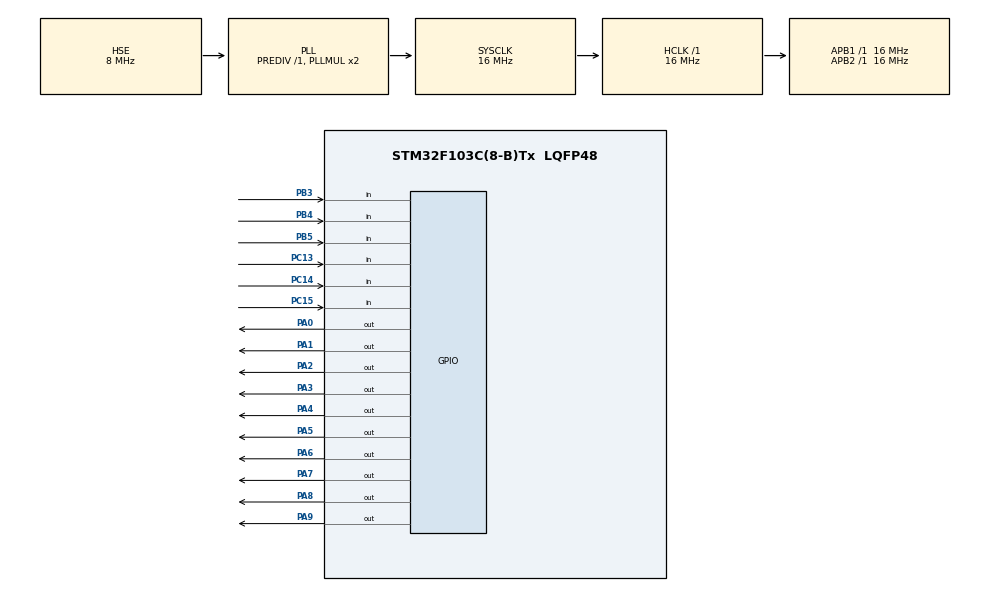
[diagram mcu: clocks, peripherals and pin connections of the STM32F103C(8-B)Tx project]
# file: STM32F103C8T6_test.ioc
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Mcu.Family=STM32F1
Mcu.Name=STM32F103C(8-B)Tx
Mcu.Package=LQFP48
NVIC.PriorityGroup=NVIC_PRIORITYGROUP_4
PA0-WKUP.GPIO_PuPd=GPIO_PULLDOWN
PA0-WKUP.Signal=GPIO_Output
PA1.GPIO_PuPd=GPIO_PULLDOWN
PA1.Signal=GPIO_Output
PA13.Mode=Serial_Wire
PA13.Signal=SYS_JTMS-SWDIO
PA14.Mode=Serial_Wire
PA14.Signal=SYS_JTCK-SWCLK
PA2.GPIO_PuPd=GPIO_PULLDOWN
PA2.Signal=GPIO_Output
PA3.GPIO_PuPd=GPIO_PULLDOWN
PA3.Signal=GPIO_Output
PA4.GPIO_PuPd=GPIO_PULLDOWN
PA4.Signal=GPIO_Output
PA5.GPIO_PuPd=GPIO_PULLDOWN
PA5.Signal=GPIO_Output
PA6.GPIO_PuPd=GPIO_PULLDOWN
PA6.Signal=GPIO_Output
PA7.GPIO_PuPd=GPIO_PULLDOWN
PA7.Signal=GPIO_Output
PA8.GPIO_PuPd=GPIO_PULLDOWN
PA8.Signal=GPIO_Output
PA9.GPIO_PuPd=GPIO_PULLDOWN
PA9.Signal=GPIO_Output
PB3.GPIO_PuPd=GPIO_PULLDOWN
PB3.Signal=GPIO_Input
PB4.GPIO_PuPd=GPIO_PULLDOWN
PB4.Signal=GPIO_Input
PB5.GPIO_PuPd=GPIO_PULLDOWN
PB5.Signal=GPIO_Input
PC13-TAMPER-RTC.GPIO_PuPd=GPIO_PULLDOWN
PC13-TAMPER-RTC.Signal=GPIO_Input
PC14-OSC32_IN.GPIO_PuPd=GPIO_PULLDOWN
PC14-OSC32_IN.Signal=GPIO_Input
PC15-OSC32_OUT.GPIO_PuPd=GPIO_PULLDOWN
PC15-OSC32_OUT.Signal=GPIO_Input
PD0-OSC_IN.Mode=HSE-External-Oscillator
PD0-OSC_IN.Signal=RCC_OSC_IN
PD1-OSC_OUT.Mode=HSE-External-Oscillator
PD1-OSC_OUT.Signal=RCC_OSC_OUT
ProjectManager.HeapSize=0x200
ProjectManager.StackSize=0x400
ProjectManager.TargetToolchain=STM32CubeIDE
RCC.AHBFreq_Value=16000000
RCC.APB1Freq_Value=16000000
RCC.APB1TimFreq_Value=16000000
RCC.APB2Freq_Value=16000000
RCC.APB2TimFreq_Value=16000000
RCC.HCLKFreq_Value=16000000
RCC.PLLSourceVirtual=RCC_PLLSOURCE_HSE
RCC.SYSCLKFreq_VALUE=16000000
RCC.SYSCLKSource=RCC_SYSCLKSOURCE_PLLCLK
RCC.USBFreq_Value=16000000
board=custom

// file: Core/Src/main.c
/* USER CODE BEGIN Header */

/**
  ******************************************************************************
  * @file           : main.c
  * @brief          : Main program body
  ******************************************************************************
  * @attention
  *
  * Copyright (c) 2024 STMicroelectronics.
  * All rights reserved.
  *
  * This software is licensed under terms that can be found in the LICENSE file
  * in the root directory of this software component.
  * If no LICENSE file comes with this software, it is provided AS-IS.
  *
  ******************************************************************************
  */
/* USER CODE END Header */
#include "main.h"

/* USER CODE BEGIN Includes */
#include <string.h>
#include <stdint.h>
#include <stdlib.h>
/* USER CODE END Includes */

/* USER CODE BEGIN PD */
// define states
#define Pgo 0
#define Wgo 1
#define Sgo 2
#define Wwait 3
#define Swait 4
#define Warn1 5
#define Off1 6
#define Warn2 7
#define Off2 8
#define Warn3 9
#define Off3 10
#define stopP 11
#define stopW 12
#define stopS 13

// define value of state
#define Pgo_val 0x127
#define Wgo_val 0x61
#define Sgo_val 0x109
#define Wwait_val 0xA1
#define Swait_val 0x111
#define Warn1_val 0x121
#define Off1_val 0x120
#define Warn2_val 0x121
#define Off2_val 0x120
#define Warn3_val 0x121
#define Off3_val 0x120
#define stopP_val 0x121
#define stopW_val 0x121
#define stopS_val 0x121
/* USER CODE END PD */

void SystemClock_Config(void);
static void MX_GPIO_Init(void);

/* USER CODE BEGIN 0 */

// Runs on STM32F103C8T6
// Use a table implementation of a Moore finite state machine to operate
// a traffic light.
// Truong Giang Nguyen
// Jan 10th, 2024
//
// walk button sensor connected to PB5 (1=button pressed)
// north facing car detector connected to PB4 (1=car present)
// east facing car detector connected to PB3 (1=car present)
//
// east facing red light connected to PA8
// east facing yellow light connected to PA7
// east facing green light connected to PA6
// north facing red light connected to PA5
// north facing yellow light connected to PA4
// north facing green light connected to PA3
// walk blue light connected to PA2
// walk green light connected to PA1
// walk red light connected to PA0

struct State {
	uint32_t out;
	unsigned long wait;
	uint32_t next[8]; //Index of the state
};
typedef const struct State Stype;

Stype fsm[14] = {
{0x127, 4000, {Pgo, Warn1, Warn1, Warn1, Pgo, Warn1, Warn1, Warn1}},
{0x61, 4000, {Wgo, Wgo, Wwait, Wwait, Wwait, Wwait, Wwait, Wwait}},
{0x109, 4000, {Sgo, Swait, Sgo, Swait, Swait, Swait, Swait, Swait}},
{0xA1, 1600, {stopW, stopW, stopW, stopW, stopW, stopW, stopW, stopW}},
{0x111, 1600, {stopS, stopS, stopS, stopS, stopS, stopS, stopS, stopS}},
{0x121, 300, {Off1, Off1, Off1, Off1, Off1, Off1, Off1, Off1}},
{0x120, 300, {Warn2, Warn2, Warn2, Warn2, Warn2, Warn2, Warn2, Warn2}},
{0x121, 300, {Off2, Off2, Off2, Off2, Off2, Off2, Off2, Off2}},
{0x120, 300, {Warn3, Warn3, Warn3, Warn3, Warn3, Warn3, Warn3, Warn3}},
{0x121, 300, {Off3, Off3, Off3, Off3, Off3, Off3, Off3, Off3}},
{0x120, 300, {stopP, stopP, stopP, stopP, stopP, stopP, stopP, stopP}},
{0x121, 250, {Pgo, Wgo, Sgo, Sgo, Pgo, Wgo, Sgo, Sgo}},
{0x121, 250, {Pgo, Wgo, Sgo, Sgo, Pgo, Pgo, Pgo, Pgo}},
{0x121, 250, {Pgo, Wgo, Sgo, Wgo, Pgo, Wgo, Pgo, Wgo}}
};

uint16_t S;
uint32_t Input = 0xFF;
uint32_t check_input_A;
uint32_t check_input_B;
uint32_t check_input_C;
uint32_t check_output;
uint32_t check_state;
uint32_t count=0;
/* USER CODE END 0 */

int main(void)
{
  /* USER CODE BEGIN 1 */
	S = Warn1;
  /* USER CODE END 1 */

  /* MCU Configuration--------------------------------------------------------*/

  /* Reset of all peripherals, Initializes the Flash interface and the Systick. */
  HAL_Init();

  /* Configure the system clock */
  SystemClock_Config();

  /* Initialize all configured peripherals */
  MX_GPIO_Init();
  /* USER CODE BEGIN 2 */
  while(1) {
	  check_input_B = (GPIOB->IDR)&(0x38);
	  check_output = GPIOA->ODR;
	  GPIOA->ODR = (fsm[S].out)|((fsm[S].out & 0x100)<<1);
	  HAL_Delay(fsm[S].wait);
	  Input = ((GPIOB->IDR)>>3)&0x7;
	  S = fsm[S].next[Input];
	  count++;
  }
  /* USER CODE END 2 */

  /* Infinite loop */
  while (1)
  {

  }
}

void SystemClock_Config(void)
{
  RCC_OscInitTypeDef RCC_OscInitStruct = {0};
  RCC_ClkInitTypeDef RCC_ClkInitStruct = {0};

  /** Initializes the RCC Oscillators according to the specified parameters
  * in the RCC_OscInitTypeDef structure.
  */
  RCC_OscInitStruct.OscillatorType = RCC_OSCILLATORTYPE_HSE;
  RCC_OscInitStruct.HSEState = RCC_HSE_ON;
  RCC_OscInitStruct.HSEPredivValue = RCC_HSE_PREDIV_DIV1;
  RCC_OscInitStruct.HSIState = RCC_HSI_ON;
  RCC_OscInitStruct.PLL.PLLState = RCC_PLL_ON;
  RCC_OscInitStruct.PLL.PLLSource = RCC_PLLSOURCE_HSE;
  RCC_OscInitStruct.PLL.PLLMUL = RCC_PLL_MUL2;
  if (HAL_RCC_OscConfig(&RCC_OscInitStruct) != HAL_OK)
  {
    Error_Handler();
  }

  /** Initializes the CPU, AHB and APB buses clocks
  */
  RCC_ClkInitStruct.ClockType = RCC_CLOCKTYPE_HCLK|RCC_CLOCKTYPE_SYSCLK
                              |RCC_CLOCKTYPE_PCLK1|RCC_CLOCKTYPE_PCLK2;
  RCC_ClkInitStruct.SYSCLKSource = RCC_SYSCLKSOURCE_PLLCLK;
  RCC_ClkInitStruct.AHBCLKDivider = RCC_SYSCLK_DIV1;
  RCC_ClkInitStruct.APB1CLKDivider = RCC_HCLK_DIV1;
  RCC_ClkInitStruct.APB2CLKDivider = RCC_HCLK_DIV1;

  if (HAL_RCC_ClockConfig(&RCC_ClkInitStruct, FLASH_LATENCY_0) != HAL_OK)
  {
    Error_Handler();
  }
}

static void MX_GPIO_Init(void)
{
  GPIO_InitTypeDef GPIO_InitStruct = {0};

  /* GPIO Ports Clock Enable */
  __HAL_RCC_GPIOC_CLK_ENABLE();
  __HAL_RCC_GPIOD_CLK_ENABLE();
  __HAL_RCC_GPIOA_CLK_ENABLE();
  __HAL_RCC_GPIOB_CLK_ENABLE();

  /*Configure GPIO pin Output Level */
  HAL_GPIO_WritePin(GPIOA, GPIO_PIN_0|GPIO_PIN_1|GPIO_PIN_2|GPIO_PIN_3
                          |GPIO_PIN_4|GPIO_PIN_5|GPIO_PIN_6|GPIO_PIN_7
                          |GPIO_PIN_8|GPIO_PIN_9, GPIO_PIN_RESET);

  /*Configure GPIO pins : PC13 PC14 PC15 */
  GPIO_InitStruct.Pin = GPIO_PIN_13|GPIO_PIN_14|GPIO_PIN_15;
  GPIO_InitStruct.Mode = GPIO_MODE_INPUT;
  GPIO_InitStruct.Pull = GPIO_PULLDOWN;
  HAL_GPIO_Init(GPIOC, &GPIO_InitStruct);

  /*Configure GPIO pins : PA0 PA1 PA2 PA3
                           PA4 PA5 PA6 PA7
                           PA8 PA9 */
  GPIO_InitStruct.Pin = GPIO_PIN_0|GPIO_PIN_1|GPIO_PIN_2|GPIO_PIN_3
                          |GPIO_PIN_4|GPIO_PIN_5|GPIO_PIN_6|GPIO_PIN_7
                          |GPIO_PIN_8|GPIO_PIN_9;
  GPIO_InitStruct.Mode = GPIO_MODE_OUTPUT_PP;
  GPIO_InitStruct.Pull = GPIO_PULLDOWN;
  GPIO_InitStruct.Speed = GPIO_SPEED_FREQ_LOW;
  HAL_GPIO_Init(GPIOA, &GPIO_InitStruct);

  /*Configure GPIO pins : PB3 PB4 PB5 */
  GPIO_InitStruct.Pin = GPIO_PIN_3|GPIO_PIN_4|GPIO_PIN_5;
  GPIO_InitStruct.Mode = GPIO_MODE_INPUT;
  GPIO_InitStruct.Pull = GPIO_PULLDOWN;
  HAL_GPIO_Init(GPIOB, &GPIO_InitStruct);

}

void Error_Handler(void)
{
  __disable_irq();
  while (1)
  {
  }
}
